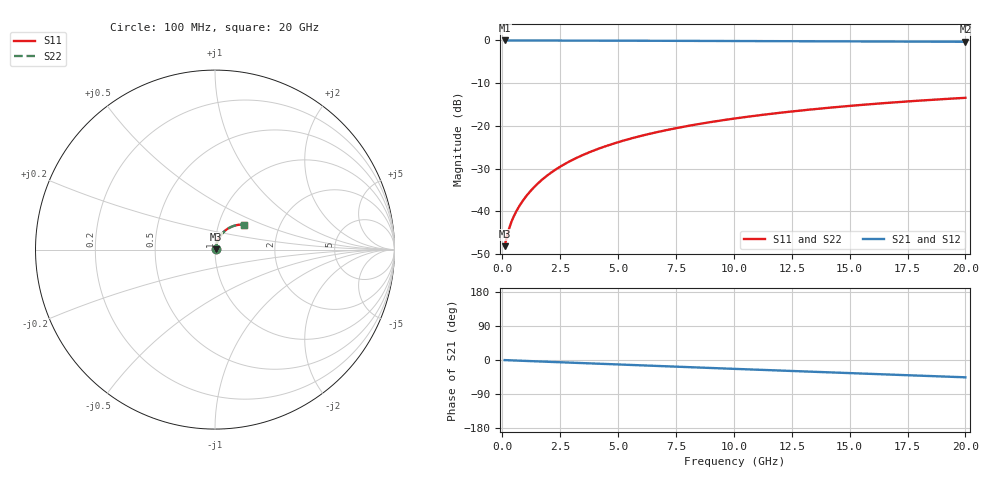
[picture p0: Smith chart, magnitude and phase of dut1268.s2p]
! Touchstone file exported from HFSS 2026.1.0
!  File:  C:/ffzhzh/LocalFiles/Ansys_Project_Files/temp_train_TMRDL_1268_1783164094_43440.aedt
!  Generated:  07:22:46 PM Jul  4, 2026
!  Design:  TMRDL
!  Project:  temp_train_TMRDL_1268_1783164094_43440
! Variables:
!  h_bsmrdl = 2um
!  h_ox = 20um
!  h_rdl = 5um
!  h_sub = 80um
!  h_tmrdl = 3.22um
!  h_tsv = 80um
!  h_via = 3um
!  l_bsmrdl = 300um
!  l_sub = 1169.7um
!  l_tmrdl = 769.7um
!  m_sub = 200um
!  pitch = 37.31um
!  r_tsv = 6um
!  s_tmrdl = 10um
!  w_bsmrdl = 18um
!  w_sub = 500um
!  w_tmrdl = 26.53um
!  x_tsv_center1 = 782.965um
!  x_tsv_center2 = 1100.965um
!  x_tsv_center3 = 1897.195um
!  x_tsv_center4 = 2215.195um
!  x_tsv_center5 = 3011.425um
!  x_tsv_center6 = 3329.425um
# GHz S MA R 50.000000
! Terminal data exported
! Port[1] = TM_RDL1_1_T1
! Port[2] = TM_RDL1_1_T2
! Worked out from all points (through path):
!   200 points, 100 MHz to 20 GHz, reference 50 ohm
!   highest |S21| = -0.03 dB at 100 MHz (marker M1); lowest = -0.3 dB at 20 GHz (marker M2)
!   group delay of S21, straight-line fit = 6.33 ps
!   lowest |S11| = -48.1 dB at 100 MHz (marker M3), VSWR 1.01, Z = 50.4 + j0.179 ohm
!   |S11| at or under -10 dB: start of sweep to end of sweep
!   |S22| runs from -48.1 to -13.4 dB; largest |S21 - S12| = 4.4e-15
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0.1  0.003925 26.9  0.9965 -0.3  0.9965 -0.3  0.003925 26.9
! Gamma 0 0 0 0
! Port Impedance 50 0 50 0
0.2  0.005112 41.6  0.9962 -0.5  0.9962 -0.5  0.005113 41.6
0.3  0.006393 49.1  0.9959 -0.8  0.9959 -0.8  0.006393 49.1
0.4  0.007623 53.7  0.9956 -1.0  0.9956 -1.0  0.007625 53.7
0.5  0.008808 57.1  0.9954 -1.2  0.9954 -1.2  0.008811 57.1
0.6  0.009973 59.8  0.9952 -1.5  0.9952 -1.5  0.009976 59.8
0.8  0.01231 64.0  0.9949 -1.9  0.9949 -1.9  0.01231 64.0
1  0.01468 67.0  0.9948 -2.4  0.9948 -2.4  0.01468 67.0
1.2  0.0171 69.1  0.9946 -2.9  0.9946 -2.9  0.0171 69.1
1.7  0.02328 72.3  0.9943 -4.1  0.9943 -4.1  0.02328 72.2
2.2  0.02955 73.6  0.9939 -5.2  0.9939 -5.2  0.02956 73.6
2.8  0.03712 74.0  0.9933 -6.7  0.9933 -6.7  0.03712 74.0
3.5  0.04591 73.7  0.9925 -8.3  0.9925 -8.3  0.04592 73.6
4.2  0.05462 72.8  0.9917 -10.0  0.9917 -10.0  0.05463 72.8
5  0.06443 71.6  0.9905 -11.8  0.9905 -11.8  0.06445 71.5
5.9  0.07527 70.0  0.9891 -13.9  0.9891 -13.9  0.07529 69.9
6.8  0.08587 68.2  0.9876 -16.0  0.9876 -16.0  0.08589 68.1
8.3  0.103 65.1  0.9848 -19.5  0.9848 -19.5  0.103 65.0
10.1  0.1226 61.4  0.9814 -23.6  0.9814 -23.6  0.1227 61.2
13.4  0.1561 54.4  0.9748 -31.0  0.9748 -31.0  0.1562 54.2
16.7  0.1863 47.5  0.9682 -38.4  0.9682 -38.4  0.1864 47.3
20  0.2128 40.6  0.9618 -45.7  0.9618 -45.7  0.2129 40.3
